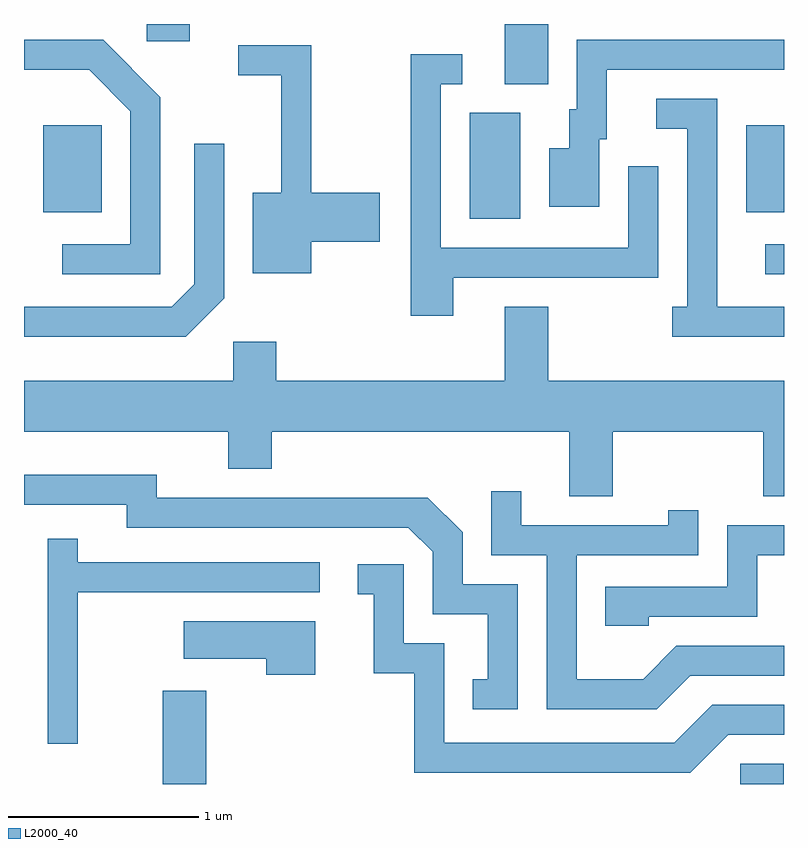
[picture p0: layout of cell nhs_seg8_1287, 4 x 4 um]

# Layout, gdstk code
import gdstk
lib = gdstk.Library(unit=1e-6, precision=1e-09)
def R(c, l, rs):  # rectangles x0, y0, x1, y1
    for r in rs: c.add(gdstk.rectangle(r[:2], r[2:], *l))
def P(c, l, *ps):  # polygons
    for p in ps: c.add(gdstk.Polygon(p, *l))
L2000_40 = (2000, 40)

nhs_seg8_1287 = lib.new_cell('nhs_seg8_1287')
R(nhs_seg8_1287, L2000_40, [(224.341,1832.342,224.569,1832.834), (227.381,1832.342,227.609,1832.449), (227.513,1835.026,227.611,1835.184), (225.956,1835.316,226.224,1835.874), (223.711,1835.351,224.019,1835.809), (227.411,1835.351,227.611,1835.809), (226.141,1836.026,226.369,1836.342), (224.256,1836.251,224.484,1836.342)])
P(nhs_seg8_1287, L2000_40, [(224.329,1835.957),(224.027,1836.259),(223.611,1836.259),(223.611,1836.101),(223.954,1836.101),(224.171,1835.884),(224.171,1835.184),(223.813,1835.184),(223.813,1835.026),(224.329,1835.026)],
  [(226.639,1835.736),(226.679,1835.736),(226.679,1836.101),(227.611,1836.101),(227.611,1836.259),(226.521,1836.259),(226.521,1835.894),(226.481,1835.894),(226.481,1835.689),(226.376,1835.689),(226.376,1835.381),(226.639,1835.381)],
  [(225.124,1835.196),(225.484,1835.196),(225.484,1835.454),(225.124,1835.454),(225.124,1836.229),(224.738,1836.229),(224.738,1836.071),(224.966,1836.071),(224.966,1835.454),(224.816,1835.454),(224.816,1835.031),(225.124,1835.031)],
  [(225.869,1835.006),(226.949,1835.006),(226.949,1835.593),(226.791,1835.593),(226.791,1835.164),(225.804,1835.164),(225.804,1836.026),(225.918,1836.026),(225.918,1836.184),(225.646,1836.184),(225.646,1834.806),(225.869,1834.806)],
  [(227.611,1834.854),(227.259,1834.854),(227.259,1835.949),(226.938,1835.949),(226.938,1835.791),(227.101,1835.791),(227.101,1834.854),(227.023,1834.854),(227.023,1834.696),(227.611,1834.696)],
  [(224.664,1834.899),(224.664,1835.713),(224.506,1835.713),(224.506,1834.972),(224.389,1834.854),(223.611,1834.854),(223.611,1834.696),(224.462,1834.696)],
  [(226.709,1834.196),(227.501,1834.196),(227.501,1833.856),(227.611,1833.856),(227.611,1834.464),(226.369,1834.464),(226.369,1834.854),(226.141,1834.854),(226.141,1834.464),(224.939,1834.464),(224.939,1834.669),(224.711,1834.669),(224.711,1834.464),(223.611,1834.464),(223.611,1834.196),(224.686,1834.196),(224.686,1834.001),(224.914,1834.001),(224.914,1834.196),(226.481,1834.196),(226.481,1833.856),(226.709,1833.856)],
  [(226.209,1833.394),(225.919,1833.394),(225.919,1833.667),(225.737,1833.849),(224.309,1833.849),(224.309,1833.969),(223.611,1833.969),(223.611,1833.811),(224.151,1833.811),(224.151,1833.691),(225.634,1833.691),(225.761,1833.564),(225.761,1833.236),(226.051,1833.236),(226.051,1832.894),(225.973,1832.894),(225.973,1832.736),(226.209,1832.736)],
  [(227.117,1832.911),(227.611,1832.911),(227.611,1833.069),(227.044,1833.069),(226.869,1832.894),(226.519,1832.894),(226.519,1833.546),(227.159,1833.546),(227.159,1833.783),(227.001,1833.783),(227.001,1833.704),(226.229,1833.704),(226.229,1833.883),(226.071,1833.883),(226.071,1833.546),(226.361,1833.546),(226.361,1832.736),(226.942,1832.736)],
  [(226.899,1833.221),(227.469,1833.221),(227.469,1833.546),(227.611,1833.546),(227.611,1833.704),(227.311,1833.704),(227.311,1833.379),(226.671,1833.379),(226.671,1833.176),(226.899,1833.176)],
  [(223.894,1833.351),(225.168,1833.351),(225.168,1833.509),(223.894,1833.509),(223.894,1833.633),(223.736,1833.633),(223.736,1832.553),(223.894,1832.553)],
  [(227.317,1832.601),(227.611,1832.601),(227.611,1832.759),(227.234,1832.759),(227.034,1832.559),(225.824,1832.559),(225.824,1833.084),(225.609,1833.084),(225.609,1833.499),(225.368,1833.499),(225.368,1833.341),(225.451,1833.341),(225.451,1832.926),(225.666,1832.926),(225.666,1832.401),(227.117,1832.401)],
  [(225.144,1833.199),(224.451,1833.199),(224.451,1833.001),(224.886,1833.001),(224.886,1832.916),(225.144,1832.916)])

lib.write_gds('nhs_seg8_1287.gds')
